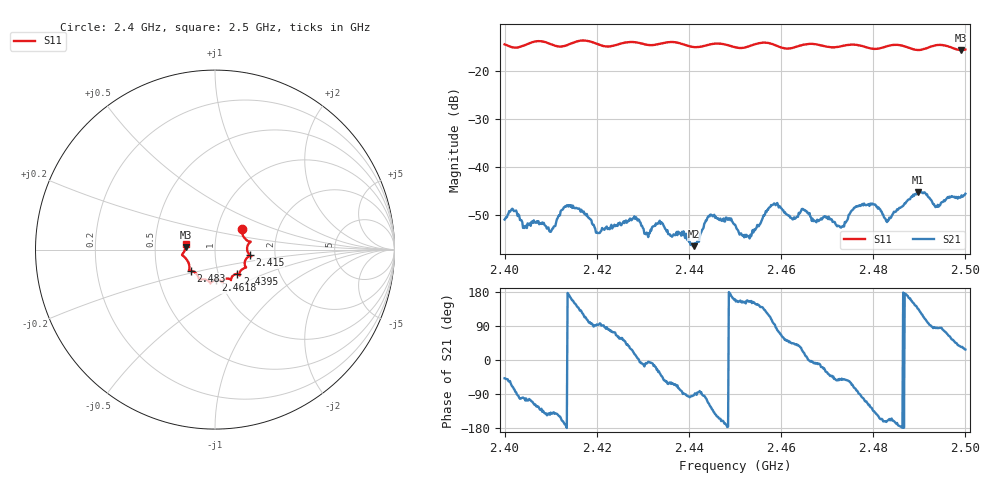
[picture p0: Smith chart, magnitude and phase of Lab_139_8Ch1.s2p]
# Hz S RI R 50
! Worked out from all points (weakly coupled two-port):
!   601 points, 2.4 GHz to 2.5 GHz, reference 50 ohm
!   highest |S21| = -45.11 dB at 2.4897 GHz (marker M1); lowest = -56.4 dB at 2.441 GHz (marker M2)
!   lowest |S11| = -15.7 dB at 2.499 GHz (marker M3), VSWR 1.39, Z = 35.9 + j1.12 ohm
!   |S11| at or under -10 dB: start of sweep to end of sweep
!   S12 and S22 are empty: the file has one direction only
!   S11 on the Smith chart (normalised r, x): 2.4 GHz: 1.31, +0.31; 2.415 GHz: 1.48, -0.10; 2.4395 GHz: 1.23, -0.34; 2.4618 GHz: 0.95, -0.33; 2.483 GHz: 0.74, -0.18; 2.5 GHz: 0.72, +0.05
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2.4e9  0.1502 0.1137  0.00191 -0.00214  0 0  0 0
2.41e9  0.1869 0.0319  -0.00161 -0.0014  0 0  0 0
2.415e9  0.1943 -0.0322  -0.0034 0.00172  0 0  0 0
2.416667e9  0.203 -0.0378  -0.00227 0.00283  0 0  0 0
2.420333e9  0.1838 -0.0414  -0.000102 0.00207  0 0  0 0
2.433333e9  0.1367 -0.1314  0.00222 -0.00136  0 0  0 0
2.4395e9  0.1242 -0.1351  -0.000129 -0.00182  0 0  0 0
2.441e9  0.1097 -0.1385  -0.0001 -0.00151  0 0  0 0
2.4445e9  0.089 -0.1653  -0.00153 -0.00269  0 0  0 0
2.45e9  0.0694 -0.1617  -0.00239 0.000862  0 0  0 0
2.453167e9  0.0415 -0.176  -0.00163 0.00081  0 0  0 0
2.458667e9  0.0394 -0.1813  -0.000227 0.00415  0 0  0 0
2.461833e9  0.00419 -0.1708  0.00206 0.00236  0 0  0 0
2.466667e9  -0.0259 -0.1889  0.00276 -0.000235  0 0  0 0
2.473167e9  -0.0731 -0.1653  0.00158 -0.00183  0 0  0 0
2.479833e9  -0.1045 -0.1338  -0.00275 -0.00318  0 0  0 0
2.483e9  -0.1359 -0.1183  -0.00255 -0.000871  0 0  0 0
2.483333e9  -0.1386 -0.118  -0.0026 -0.00107  0 0  0 0
2.489667e9  -0.1478 -0.0724  -0.00395 0.0039  0 0  0 0
2.493833e9  -0.1828 -0.0312  0.000303 0.00387  0 0  0 0
2.499e9  -0.1635 0.0152  0.00401 0.00277  0 0  0 0
2.5e9  -0.1631 0.0331  0.0047 0.00245  0 0  0 0
